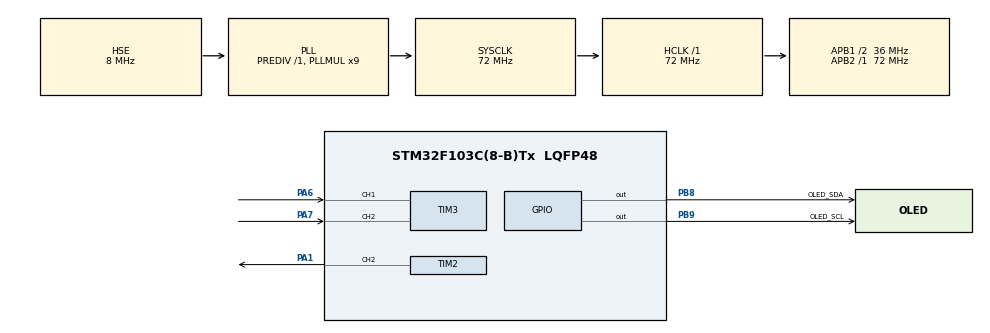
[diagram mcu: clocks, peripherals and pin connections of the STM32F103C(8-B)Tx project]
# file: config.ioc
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Mcu.Family=STM32F1
Mcu.Name=STM32F103C(8-B)Tx
Mcu.Package=LQFP48
NVIC.PriorityGroup=NVIC_PRIORITYGROUP_4
PA1.Signal=S_TIM2_CH2
PA13.Mode=Serial_Wire
PA13.Signal=SYS_JTMS-SWDIO
PA14.Mode=Serial_Wire
PA14.Signal=SYS_JTCK-SWCLK
PA6.Signal=S_TIM3_CH1
PA7.Signal=S_TIM3_CH2
PB8.GPIO_Label=OLED_SDA
PB8.GPIO_ModeDefaultOutputPP=GPIO_MODE_OUTPUT_OD
PB8.GPIO_PuPd=GPIO_NOPULL
PB8.GPIO_Speed=GPIO_SPEED_FREQ_HIGH
PB8.PinState=GPIO_PIN_SET
PB8.Signal=GPIO_Output
PB9.GPIO_Label=OLED_SCL
PB9.GPIO_ModeDefaultOutputPP=GPIO_MODE_OUTPUT_OD
PB9.GPIO_PuPd=GPIO_NOPULL
PB9.GPIO_Speed=GPIO_SPEED_FREQ_HIGH
PB9.PinState=GPIO_PIN_SET
PB9.Signal=GPIO_Output
PD0-OSC_IN.Mode=HSE-External-Oscillator
PD0-OSC_IN.Signal=RCC_OSC_IN
PD1-OSC_OUT.Mode=HSE-External-Oscillator
PD1-OSC_OUT.Signal=RCC_OSC_OUT
ProjectManager.HeapSize=0x200
ProjectManager.StackSize=0x400
ProjectManager.TargetToolchain=CMake
RCC.AHBFreq_Value=72000000
RCC.APB1CLKDivider=RCC_HCLK_DIV2
RCC.APB1Freq_Value=36000000
RCC.APB1TimFreq_Value=72000000
RCC.APB2Freq_Value=72000000
RCC.APB2TimFreq_Value=72000000
RCC.HCLKFreq_Value=72000000
RCC.PLLMUL=RCC_PLL_MUL9
RCC.PLLSourceVirtual=RCC_PLLSOURCE_HSE
RCC.SYSCLKFreq_VALUE=72000000
RCC.SYSCLKSource=RCC_SYSCLKSOURCE_PLLCLK
RCC.USBFreq_Value=72000000
SH.S_TIM2_CH2.0=TIM2_CH2,PWM Generation2 CH2
SH.S_TIM3_CH1.0=TIM3_CH1,Encoder_Interface
SH.S_TIM3_CH2.0=TIM3_CH2,Encoder_Interface
TIM2.Channel-PWM\ Generation2\ CH2=TIM_CHANNEL_2
TIM2.OC2Preload_PWM=DISABLE
TIM2.Period=10000-1
TIM2.Prescaler=72-1
TIM2.Pulse-PWM\ Generation2\ CH2=7000-1
TIM3.EncoderMode=TIM_ENCODERMODE_TI12
VP_TIM2_VS_ClockSourceINT.Mode=Internal
board=custom

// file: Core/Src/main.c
/* USER CODE BEGIN Header */
/**
  ******************************************************************************
  * @file           : main.c
  * @brief          : Main program body
  ******************************************************************************
  * @attention
  *
  * Copyright (c) 2026 STMicroelectronics.
  * All rights reserved.
  *
  * This software is licensed under terms that can be found in the LICENSE file
  * in the root directory of this software component.
  * If no LICENSE file comes with this software, it is provided AS-IS.
  *
  ******************************************************************************
  */
/* USER CODE END Header */
#include "main.h"
#include "stm32_hal_legacy.h"
#include "stm32f1xx_hal_tim.h"
#include "tim.h"
#include "gpio.h"

/* USER CODE BEGIN Includes */
#include "OLED.h"
#include <math.h>
#include <stdint.h>
/* USER CODE END Includes */

/* USER CODE BEGIN PV */
int16_t EncoderCount = 0;
const float PWMFreqList[4] = {0.5,3,10,100};
float PWMFreq = PWMFreqList[0];
/* USER CODE END PV */

void SystemClock_Config(void);

/* USER CODE BEGIN 0 */
int16_t GetEncoderCounts(void)
{
  int16_t EncoderCounts = __HAL_TIM_GET_COUNTER(&htim3);
  if (EncoderCounts < 0) {
    __HAL_TIM_SET_COUNTER(&htim3, 0);
    EncoderCounts = __HAL_TIM_GET_COUNTER(&htim3);
  }
  else if (EncoderCounts > 12) {
    __HAL_TIM_SET_COUNTER(&htim3, 12);
    EncoderCounts = __HAL_TIM_GET_COUNTER(&htim3);
  }
  return EncoderCounts;
}
/* USER CODE END 0 */

int main(void)
{

  /* MCU Configuration--------------------------------------------------------*/

  /* Reset of all peripherals, Initializes the Flash interface and the Systick. */
  HAL_Init();

  /* Configure the system clock */
  SystemClock_Config();

  /* Initialize all configured peripherals */
  MX_GPIO_Init();
  MX_TIM3_Init();
  MX_TIM2_Init();
  /* USER CODE BEGIN 2 */
  OLED_Init();
  OLED_Clear();

  OLED_ShowString(1, 1, "Encoder = ");
  OLED_ShowString(2, 1, "PWM Frequency =");
  OLED_ShowString(3, 9, "Hz");

  HAL_TIM_Encoder_Start(&htim3, TIM_CHANNEL_ALL);
  HAL_TIM_PWM_Start(&htim2, TIM_CHANNEL_2);

  /* USER CODE END 2 */

  /* Infinite loop */
  /* USER CODE BEGIN WHILE */
  while (1)
  {
    EncoderCount = GetEncoderCounts();
    PWMFreq = PWMFreqList[EncoderCount/4];
    __HAL_TIM_SET_PRESCALER(&htim2, (uint16_t)(72000000 / (10000*PWMFreq) - 1));

    OLED_ShowNum(1, 11, EncoderCount/4, 1);
    if (PWMFreq < 1)
    {
      OLED_ShowFloat(3, 4, PWMFreq, 1);
      // OLED_ShowString(4, 6, " ");
    }
    else if (PWMFreq >= 1) {
      OLED_ShowNum(3, 5, PWMFreq, 3);
    }

    // HAL_Delay(1000);
    /* USER CODE END WHILE */

  }
}

void SystemClock_Config(void)
{
  RCC_OscInitTypeDef RCC_OscInitStruct = {0};
  RCC_ClkInitTypeDef RCC_ClkInitStruct = {0};

  /** Initializes the RCC Oscillators according to the specified parameters
  * in the RCC_OscInitTypeDef structure.
  */
  RCC_OscInitStruct.OscillatorType = RCC_OSCILLATORTYPE_HSE;
  RCC_OscInitStruct.HSEState = RCC_HSE_ON;
  RCC_OscInitStruct.HSEPredivValue = RCC_HSE_PREDIV_DIV1;
  RCC_OscInitStruct.HSIState = RCC_HSI_ON;
  RCC_OscInitStruct.PLL.PLLState = RCC_PLL_ON;
  RCC_OscInitStruct.PLL.PLLSource = RCC_PLLSOURCE_HSE;
  RCC_OscInitStruct.PLL.PLLMUL = RCC_PLL_MUL9;
  if (HAL_RCC_OscConfig(&RCC_OscInitStruct) != HAL_OK)
  {
    Error_Handler();
  }

  /** Initializes the CPU, AHB and APB buses clocks
  */
  RCC_ClkInitStruct.ClockType = RCC_CLOCKTYPE_HCLK|RCC_CLOCKTYPE_SYSCLK
                              |RCC_CLOCKTYPE_PCLK1|RCC_CLOCKTYPE_PCLK2;
  RCC_ClkInitStruct.SYSCLKSource = RCC_SYSCLKSOURCE_PLLCLK;
  RCC_ClkInitStruct.AHBCLKDivider = RCC_SYSCLK_DIV1;
  RCC_ClkInitStruct.APB1CLKDivider = RCC_HCLK_DIV2;
  RCC_ClkInitStruct.APB2CLKDivider = RCC_HCLK_DIV1;

  if (HAL_RCC_ClockConfig(&RCC_ClkInitStruct, FLASH_LATENCY_2) != HAL_OK)
  {
    Error_Handler();
  }
}

void Error_Handler(void)
{
  __disable_irq();
  while (1)
  {
  }
}
